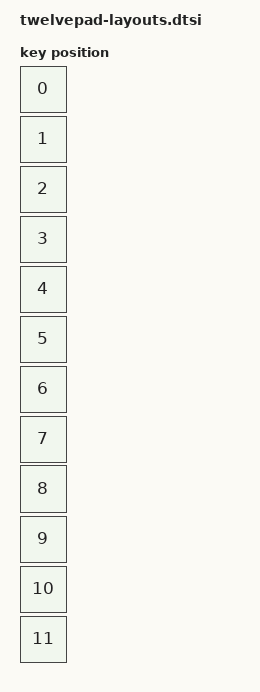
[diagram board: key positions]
// See https://zmk.dev/docs/development/hardware-integration/physical-layouts
// for how to configure this.

#include <physical_layouts.dtsi>

/ {
    default_layout: default_layout {
        compatible = "zmk,physical-layout";
        display-name = "Default Layout";
        transform = <&default_transform>;
        kscan = <&kscan>;

        keys  //                     w   h     x    y     rot    rx    ry
            = <&key_physical_attrs 100 100     0    0       0     0     0>
            , <&key_physical_attrs 100 100     0  100       0     0     0>
            , <&key_physical_attrs 100 100     0  200       0     0     0>
            , <&key_physical_attrs 100 100     0  300       0     0     0>
            , <&key_physical_attrs 100 100     0  400       0     0     0>
            , <&key_physical_attrs 100 100     0  500       0     0     0>
            , <&key_physical_attrs 100 100     0  600       0     0     0>
            , <&key_physical_attrs 100 100     0  700       0     0     0>
            , <&key_physical_attrs 100 100     0  800       0     0     0>
            , <&key_physical_attrs 100 100     0  900       0     0     0>
            , <&key_physical_attrs 100 100     0 1000       0     0     0>
            , <&key_physical_attrs 100 100     0 1100       0     0     0>
            ;
    };
};
